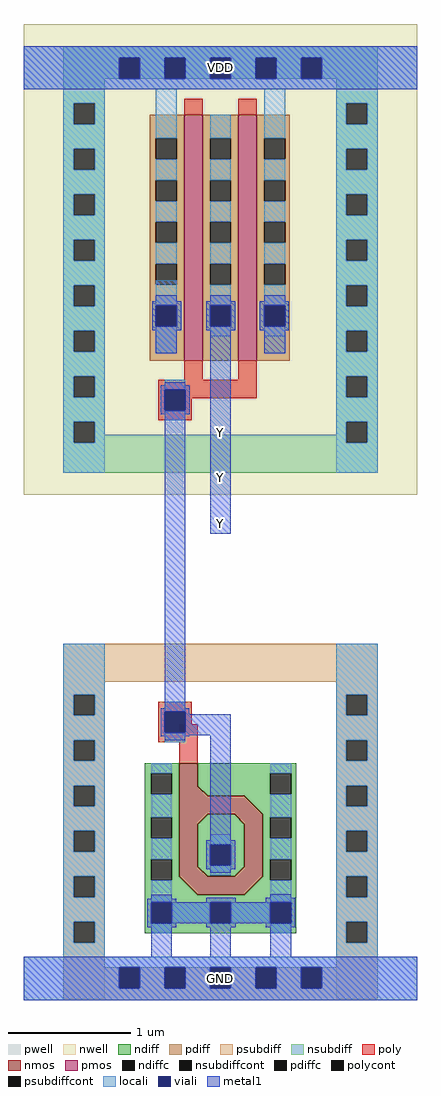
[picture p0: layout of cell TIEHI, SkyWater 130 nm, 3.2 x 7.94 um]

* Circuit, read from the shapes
.subckt TIEHI Y VDD GND
XM1 GND n1 n1 GND sky130_fd_pr__nfet_01v8 w=2.56 l=0.1487
XM2 Y n1 VDD VDD sky130_fd_pr__pfet_01v8 w=2 l=0.15 m=2
.ends

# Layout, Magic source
magic
tech sky130A
magscale 1 2
<< nwell >>
rect 0 822 640 1588
<< pwell >>
rect 155 19 189 53
<< ndiffc >>
rect 303 125 337 159
rect 401 125 435 159
<< pdiffc >>
rect 215 1096 249 1130
rect 303 1096 337 1130
rect 391 1096 425 1130
<< psubdiff >>
rect 132 518 508 580
rect 132 19 155 53
rect 189 19 229 53
rect 263 19 303 53
rect 337 19 377 53
rect 411 19 451 53
rect 485 19 508 53
rect 132 5 508 19
rect 64 0 576 5
<< nsubdiff >>
rect 64 1550 576 1552
rect 132 1533 508 1550
rect 132 1499 155 1533
rect 189 1499 229 1533
rect 263 1499 303 1533
rect 337 1499 377 1533
rect 411 1499 451 1533
rect 485 1499 508 1533
rect 132 858 508 920
<< psubdiffcont >>
rect 155 19 189 53
rect 229 19 263 53
rect 303 19 337 53
rect 377 19 411 53
rect 451 19 485 53
<< nsubdiffcont >>
rect 155 1499 189 1533
rect 229 1499 263 1533
rect 303 1499 337 1533
rect 377 1499 411 1533
rect 451 1499 485 1533
<< poly >>
rect 253 417 283 449
<< locali >>
rect 0 1533 640 1552
rect 0 1499 155 1533
rect 189 1499 229 1533
rect 263 1499 303 1533
rect 337 1499 377 1533
rect 411 1499 451 1533
rect 485 1499 640 1533
rect 0 1482 640 1499
rect 215 1130 249 1171
rect 215 1052 249 1096
rect 303 1130 337 1151
rect 303 1080 337 1096
rect 391 1130 425 1149
rect 391 1080 425 1096
rect 0 53 640 70
rect 0 19 155 53
rect 189 19 229 53
rect 263 19 303 53
rect 337 19 377 53
rect 411 19 451 53
rect 485 19 640 53
rect 0 0 640 19
<< viali >>
rect 155 1499 189 1533
rect 229 1499 263 1533
rect 303 1499 337 1533
rect 377 1499 411 1533
rect 451 1499 485 1533
rect 215 1096 249 1130
rect 303 1096 337 1130
rect 391 1096 425 1130
rect 229 959 263 993
rect 229 435 263 469
rect 303 219 337 253
rect 207 125 241 159
rect 303 125 337 159
rect 401 125 435 159
rect 155 19 189 53
rect 229 19 263 53
rect 303 19 337 53
rect 377 19 411 53
rect 451 19 485 53
<< metal1 >>
rect 0 1533 640 1552
rect 0 1499 155 1533
rect 189 1499 229 1533
rect 263 1499 303 1533
rect 337 1499 377 1533
rect 411 1499 451 1533
rect 485 1499 640 1533
rect 0 1482 640 1499
rect 215 1137 249 1147
rect 303 1137 337 1147
rect 391 1137 425 1147
rect 209 1130 256 1137
rect 209 1096 215 1130
rect 249 1096 256 1130
rect 209 1090 256 1096
rect 297 1130 344 1137
rect 297 1096 303 1130
rect 337 1096 344 1130
rect 297 1090 344 1096
rect 384 1130 431 1137
rect 384 1096 391 1130
rect 425 1096 431 1130
rect 384 1090 431 1096
rect 215 1052 249 1090
rect 229 1000 263 1005
rect 223 993 270 1000
rect 223 959 229 993
rect 263 959 270 993
rect 223 953 270 959
rect 229 475 263 953
rect 303 759 337 1090
rect 391 1052 425 1090
rect 223 469 269 475
rect 223 435 229 469
rect 263 465 269 469
rect 263 435 337 465
rect 223 431 337 435
rect 223 429 269 431
rect 229 423 263 429
rect 303 260 337 431
rect 297 253 344 260
rect 297 219 303 253
rect 337 219 344 253
rect 297 213 344 219
rect 303 207 337 213
rect 207 165 241 171
rect 401 166 435 172
rect 201 159 248 165
rect 297 159 345 166
rect 394 159 442 166
rect 201 125 207 159
rect 241 125 303 159
rect 337 125 401 159
rect 435 125 442 159
rect 201 118 248 125
rect 297 119 345 125
rect 297 118 344 119
rect 394 118 442 125
rect 207 70 241 118
rect 303 70 337 118
rect 401 70 435 118
rect 0 53 640 70
rect 0 19 155 53
rect 189 19 229 53
rect 263 19 303 53
rect 337 19 377 53
rect 411 19 451 53
rect 485 19 640 53
rect 0 0 640 19
use diff_ring_side  diff_ring_side_0
transform 1 0 542 0 1 36
box -87 -34 87 1550
use diff_ring_side  diff_ring_side_1
transform 1 0 98 0 1 36
box -87 -34 87 1550
use nmos_top  nmos_top_0
transform -1 0 443 0 1 109
box 0 0 246 308
use pmos2  pmos2_0
transform 1 0 117 0 1 1440
box 52 -461 352 42
use poly_li1_contact  poly_li1_contact_0
transform 0 1 247 -1 0 977
box -32 -28 34 26
use poly_li1_contact  poly_li1_contact_1
transform 0 1 247 -1 0 453
box -32 -28 34 26
<< labels >>
rlabel metal1 0 1482 640 1552 1 VDD
port 2 nsew power bidirectional abutment
rlabel metal1 0 0 640 70 1 GND
port 3 nsew ground bidirectional abutment
rlabel metal1 303 907 337 941 1 Y
port 1 nsew signal output
rlabel metal1 303 833 337 867 1 Y
port 1 nsew signal output
rlabel metal1 303 759 337 793 1 Y
port 1 nsew signal output
<< properties >>
string FIXED_BBOX 0 0 640 1552
string LEFclass CORE WELLTAP
string LEFsite unitrh
string LEFsymmetry X Y
<< end >>

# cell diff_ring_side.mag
magic
tech sky130A
magscale 1 2
<< nwell >>
rect -87 786 87 1550
<< pwell >>
rect -34 -34 34 544
<< psubdiff >>
rect -34 461 34 544
rect -34 427 -17 461
rect 17 427 34 461
rect -34 387 34 427
rect -34 353 -17 387
rect 17 353 34 387
rect -34 313 34 353
rect -34 279 -17 313
rect 17 279 34 313
rect -34 239 34 279
rect -34 205 -17 239
rect 17 205 34 239
rect -34 165 34 205
rect -34 131 -17 165
rect 17 131 34 165
rect -34 91 34 131
rect -34 57 -17 91
rect 17 57 34 91
rect -34 -34 34 57
<< nsubdiff >>
rect -34 1423 34 1514
rect -34 1389 -17 1423
rect 17 1389 34 1423
rect -34 1349 34 1389
rect -34 1315 -17 1349
rect 17 1315 34 1349
rect -34 1275 34 1315
rect -34 1241 -17 1275
rect 17 1241 34 1275
rect -34 1201 34 1241
rect -34 1167 -17 1201
rect 17 1167 34 1201
rect -34 1127 34 1167
rect -34 1093 -17 1127
rect 17 1093 34 1127
rect -34 1053 34 1093
rect -34 1019 -17 1053
rect 17 1019 34 1053
rect -34 979 34 1019
rect -34 945 -17 979
rect 17 945 34 979
rect -34 905 34 945
rect -34 871 -17 905
rect 17 871 34 905
rect -34 822 34 871
<< psubdiffcont >>
rect -17 427 17 461
rect -17 353 17 387
rect -17 279 17 313
rect -17 205 17 239
rect -17 131 17 165
rect -17 57 17 91
<< nsubdiffcont >>
rect -17 1389 17 1423
rect -17 1315 17 1349
rect -17 1241 17 1275
rect -17 1167 17 1201
rect -17 1093 17 1127
rect -17 1019 17 1053
rect -17 945 17 979
rect -17 871 17 905
<< locali >>
rect -34 1423 34 1514
rect -34 1389 -17 1423
rect 17 1389 34 1423
rect -34 1349 34 1389
rect -34 1315 -17 1349
rect 17 1315 34 1349
rect -34 1275 34 1315
rect -34 1241 -17 1275
rect 17 1241 34 1275
rect -34 1201 34 1241
rect -34 1167 -17 1201
rect 17 1167 34 1201
rect -34 1127 34 1167
rect -34 1093 -17 1127
rect 17 1093 34 1127
rect -34 1053 34 1093
rect -34 1019 -17 1053
rect 17 1019 34 1053
rect -34 979 34 1019
rect -34 945 -17 979
rect 17 945 34 979
rect -34 905 34 945
rect -34 871 -17 905
rect 17 871 34 905
rect -34 822 34 871
rect -34 461 34 544
rect -34 427 -17 461
rect 17 427 34 461
rect -34 387 34 427
rect -34 353 -17 387
rect 17 353 34 387
rect -34 313 34 353
rect -34 279 -17 313
rect 17 279 34 313
rect -34 239 34 279
rect -34 205 -17 239
rect 17 205 34 239
rect -34 165 34 205
rect -34 131 -17 165
rect 17 131 34 165
rect -34 91 34 131
rect -34 57 -17 91
rect 17 57 34 91
rect -34 -34 34 57
<< metal1 >>
rect -34 1446 34 1514
rect -34 -34 34 34
<< end >>

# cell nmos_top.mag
magic
tech sky130
magscale 1 2
<< nmos >>
tri 144 223 160 239 se
rect 160 223 190 276
tri 54 193 84 223 se
rect 84 193 190 223
rect 54 92 84 193
tri 84 177 100 193 nw
tri 144 177 160 193 ne
tri 84 92 100 108 sw
tri 144 92 160 108 se
rect 160 92 190 193
tri 54 62 84 92 ne
rect 84 62 160 92
tri 160 62 190 92 nw
<< ndiff >>
rect 0 260 160 276
rect 0 226 8 260
rect 42 239 160 260
rect 42 226 144 239
rect 0 223 144 226
tri 144 223 160 239 nw
rect 190 260 246 276
rect 190 226 202 260
rect 236 226 246 260
rect 0 188 54 223
tri 54 193 84 223 nw
rect 0 154 8 188
rect 42 154 54 188
rect 0 120 54 154
rect 0 86 8 120
rect 42 86 54 120
tri 84 177 100 193 se
rect 100 177 144 193
tri 144 177 160 193 sw
rect 84 144 160 177
rect 84 110 106 144
rect 140 110 160 144
rect 84 108 160 110
tri 84 92 100 108 ne
rect 100 92 144 108
tri 144 92 160 108 nw
rect 190 188 246 226
rect 190 154 202 188
rect 236 154 246 188
rect 190 120 246 154
rect 0 62 54 86
tri 54 62 84 92 sw
tri 160 62 190 92 se
rect 190 86 202 120
rect 236 86 246 120
rect 190 62 246 86
rect 0 50 246 62
rect 0 16 8 50
rect 42 16 106 50
rect 140 16 202 50
rect 236 16 246 50
rect 0 0 246 16
<< ndiffc >>
rect 8 226 42 260
rect 202 226 236 260
rect 8 154 42 188
rect 8 86 42 120
rect 106 110 140 144
rect 202 154 236 188
rect 202 86 236 120
rect 8 16 42 50
rect 106 16 140 50
rect 202 16 236 50
<< poly >>
rect 160 276 190 308
<< locali >>
rect 8 260 42 276
rect 8 188 42 226
rect 202 260 236 276
rect 202 188 236 226
rect 8 120 42 154
rect 106 144 140 161
rect 106 94 140 110
rect 202 120 236 154
rect 8 50 42 86
rect 202 50 236 86
rect 42 16 106 50
rect 140 16 202 50
rect 8 0 42 16
rect 202 0 236 16
<< end >>

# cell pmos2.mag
magic
tech sky130A
magscale 1 2
<< nwell >>
rect 52 -436 352 36
<< pmos >>
rect 144 -400 174 0
rect 232 -400 262 0
<< pdiff >>
rect 88 -38 144 0
rect 88 -72 98 -38
rect 132 -72 144 -38
rect 88 -106 144 -72
rect 88 -140 98 -106
rect 132 -140 144 -106
rect 88 -174 144 -140
rect 88 -208 98 -174
rect 132 -208 144 -174
rect 88 -242 144 -208
rect 88 -276 98 -242
rect 132 -276 144 -242
rect 88 -400 144 -276
rect 174 -38 232 0
rect 174 -72 186 -38
rect 220 -72 232 -38
rect 174 -106 232 -72
rect 174 -140 186 -106
rect 220 -140 232 -106
rect 174 -174 232 -140
rect 174 -208 186 -174
rect 220 -208 232 -174
rect 174 -242 232 -208
rect 174 -276 186 -242
rect 220 -276 232 -242
rect 174 -400 232 -276
rect 262 -38 316 0
rect 262 -72 274 -38
rect 308 -72 316 -38
rect 262 -106 316 -72
rect 262 -140 274 -106
rect 308 -140 316 -106
rect 262 -174 316 -140
rect 262 -208 274 -174
rect 308 -208 316 -174
rect 262 -242 316 -208
rect 262 -276 274 -242
rect 308 -276 316 -242
rect 262 -400 316 -276
<< pdiffc >>
rect 98 -72 132 -38
rect 98 -140 132 -106
rect 98 -208 132 -174
rect 98 -276 132 -242
rect 186 -72 220 -38
rect 186 -140 220 -106
rect 186 -208 220 -174
rect 186 -276 220 -242
rect 274 -72 308 -38
rect 274 -140 308 -106
rect 274 -208 308 -174
rect 274 -276 308 -242
<< poly >>
rect 144 0 174 26
rect 232 0 262 26
rect 144 -431 174 -400
rect 232 -431 262 -400
rect 144 -461 262 -431
<< locali >>
rect 98 -38 132 42
rect 98 -106 132 -72
rect 98 -174 132 -140
rect 98 -242 132 -208
rect 98 -293 132 -276
rect 186 -38 220 0
rect 186 -106 220 -72
rect 186 -174 220 -140
rect 186 -242 220 -208
rect 186 -293 220 -276
rect 274 -38 308 42
rect 274 -106 308 -72
rect 274 -174 308 -140
rect 274 -242 308 -208
rect 274 -293 308 -276
<< end >>

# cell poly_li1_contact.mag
magic
tech sky130
<< poly >>
rect -16 8 17 13
rect -16 -9 -8 8
rect 9 -9 17 8
rect -16 -14 17 -9
<< polycont >>
rect -8 -9 9 8
<< locali >>
rect -16 -9 -8 8
rect 9 -9 17 8
<< end >>
